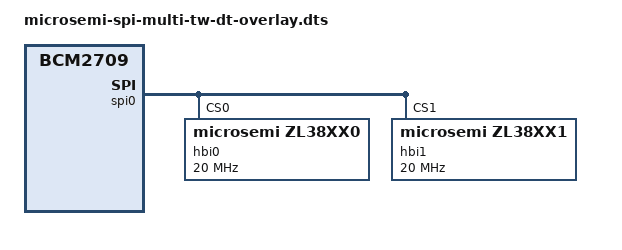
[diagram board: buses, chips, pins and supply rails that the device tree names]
// Overlay to enable brcm SPI controller device and disable virtual SPIDEV device at chip select 0 on Raspberry Pi Platform
// in RPI 1 Model B, microsemi vproc devices uses SPI BUS 0 and CHIP SELECT 0 however current kernel hools a virtual SPIDEV device at both 0 and 1.
// we need to disable that to hook microsemi vproc device at SPI bus 0
/dts-v1/;
/plugin/;

/ {
	compatible = "brcm,bcm2708","brcm,bcm2709";
	fragment@0 {
		target = <&soc>;
		__overlay__ {
			spi0: spi@7e204000{
				status = "okay";				
			};
		};
	};
	fragment@1 {
		target = <&spi0>;
		__overlay__ {
			spidev@0{
				status = "disabled";
			};
			spidev@1{
				status = "disabled";
			};
		};
	};

	fragment@2 {
		target = <&spi0>;
		__overlay__ {
		    #size-cells = <0>;
		    #address-cells = <1>;
			hbi0@0 {				
				compatible = "microsemi,zl38xx0";
				reg = <0>;
				spi-max-frequency = <20000000>;
				status = "okay";
			};
			hbi1@1 {
				compatible = "microsemi,zl38xx1";
				reg = <1>;
				spi-max-frequency = <20000000>;
				status = "okay";
			};
		};
	};	
};

